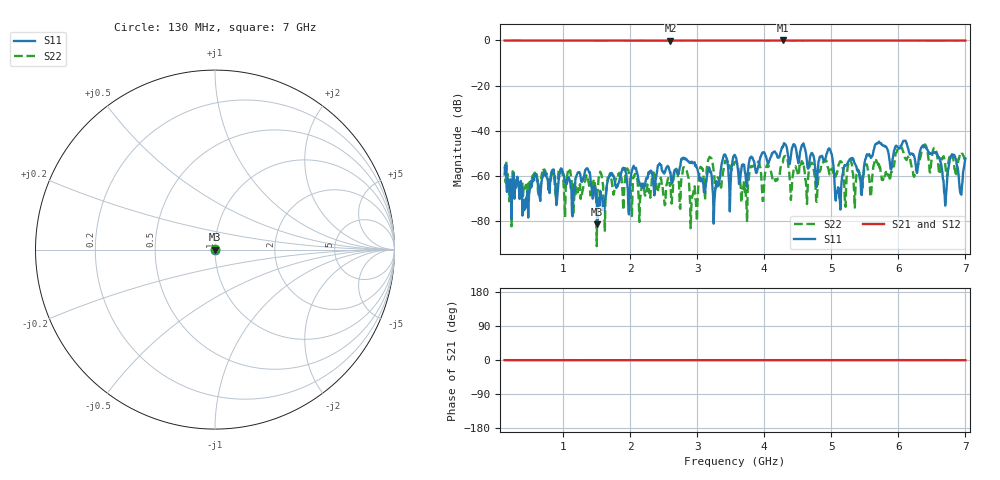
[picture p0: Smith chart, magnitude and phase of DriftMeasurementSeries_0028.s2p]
# Hz S RI R 50.000000
! Metas.Vna.Tools, 2.8.8664.20301
! Metas.Vna.Data, 2.8.8664.20285
! Created: UTC 2024.02.11 10:08:14
! FREQ  re:S1,1  im:S1,1  re:S2,1  im:S2,1  re:S1,2  im:S1,2  re:S2,2  im:S2,2
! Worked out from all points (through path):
!   801 points, 130 MHz to 7 GHz, reference 50 ohm
!   highest |S21| = -0.01 dB at 4.278 GHz (marker M1); lowest = -0.1 dB at 2.603 GHz (marker M2)
!   lowest |S11| = -81.5 dB at 1.513 GHz (marker M3), VSWR 1.00, Z = 50 - j0.00344 ohm
!   |S11| at or under -10 dB: start of sweep to end of sweep
!   |S22| runs from -91.2 to -46.1 dB; largest |S21 - S12| = 0.016
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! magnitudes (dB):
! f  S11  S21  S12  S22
! 130 MHz  -59.4  -0.1  0.0  -55.9
! 430.6 MHz  -70.7  -0.1  0.0  -64.5
! 1.281 GHz  -62.8  -0.1  0.0  -68.8
! 1.513 GHz  -81.5  -0.1  0.0  -67.8
! 2.423 GHz  -55.3  -0.1  0.0  -65.1
! 2.603 GHz  -58.4  -0.1  0.0  -63.3
! 3.264 GHz  -68.4  -0.1  0.0  -63.6
! 3.565 GHz  -50.9  -0.1  0.0  -53.8
! 3.711 GHz  -58.2  -0.1  0.0  -68.1
! 4.278 GHz  -47.4  0.0  0.0  -54.1
! 4.716 GHz  -49.9  -0.1  0.0  -54.3
! 4.982 GHz  -48.4  -0.1  0.0  -58.2
! 5.102 GHz  -65.1  -0.1  0.0  -56.1
! 5.282 GHz  -52.5  -0.1  0.0  -53.2
! 5.446 GHz  -68.3  -0.1  0.0  -61.7
! 5.686 GHz  -45.8  0.0  0.0  -54.1
! 5.858 GHz  -50.8  0.0  0.0  -60.2
! 6.39 GHz  -46.9  -0.1  0.0  -46.2
! 6.699 GHz  -73.2  -0.1  0.0  -55.0
! 6.802 GHz  -51.1  -0.1  0.0  -50.4
! 6.931 GHz  -68.1  -0.1  0.0  -50.7
! 7 GHz  -52.3  -0.1  0.0  -52.7
